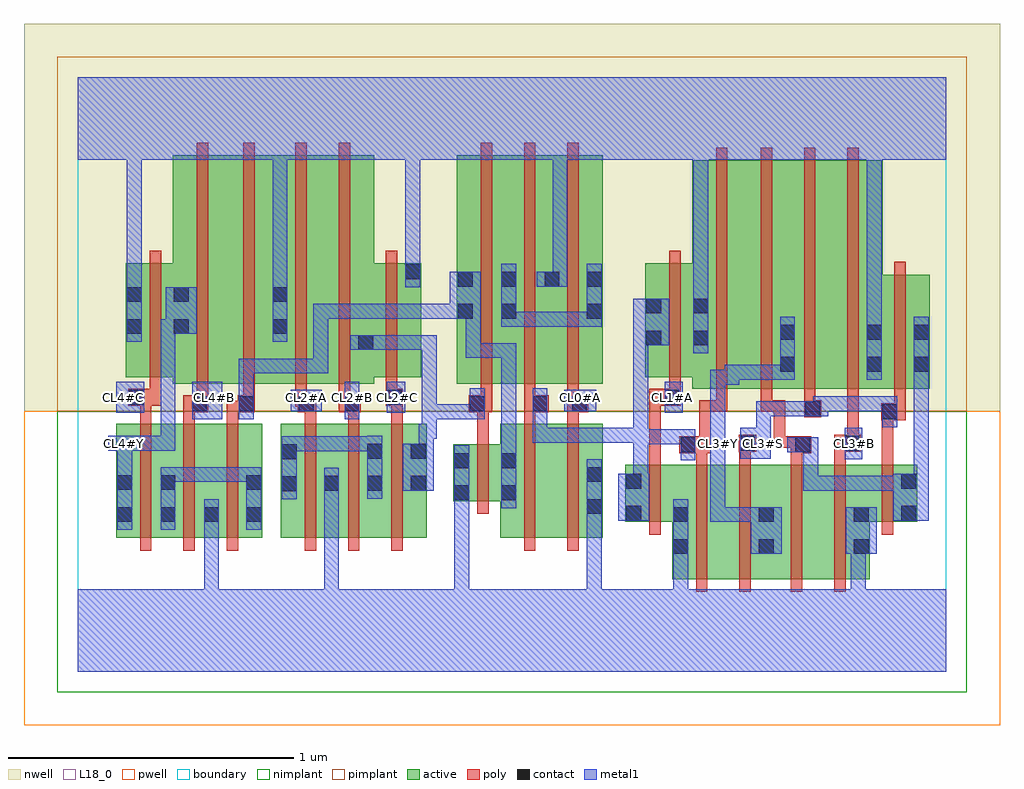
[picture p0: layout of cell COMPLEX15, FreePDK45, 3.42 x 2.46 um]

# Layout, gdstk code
import gdstk
lib = gdstk.Library(unit=1e-6, precision=1e-09)
def R(c, l, rs):  # rectangles x0, y0, x1, y1
    for r in rs: c.add(gdstk.rectangle(r[:2], r[2:], *l))
def A(c, l, x, y, w, h, nx, ny, dx, dy):  # array of equal rectangles
    R(c, l, [(x+i*dx, y+j*dy, x+i*dx+w, y+j*dy+h) for i in range(nx) for j in range(ny)])
active = (1, 0)
pwell = (2, 0)
nwell = (3, 0)
nimplant = (4, 0)
pimplant = (5, 0)
poly = (9, 0)
contact = (10, 0)
metal1 = (11, 0)
L18_0 = (18, 0)
boundary = (235, 0)

complex15 = lib.new_cell('COMPLEX15')
R(complex15, active, [(2.08,0.324,2.14,0.724), (2.08,0.324,2.26,0.724), (2.26,0.324,2.44,0.724), (2.38,0.324,2.592,0.724), (2.592,0.324,2.772,0.724), (2.712,0.324,2.772,0.724), (2.38,0.356,2.44,0.724), (0.134,0.468,0.194,0.868), (0.134,0.468,0.346,0.868), (0.286,0.468,0.498,0.868), (0.286,0.468,0.346,0.692), (0.438,0.468,0.646,0.868), (0.438,0.468,0.498,0.58), (0.586,0.468,0.646,0.868), (0.71,0.468,0.77,0.868), (0.71,0.468,0.918,0.868), (0.858,0.468,0.918,0.868), (0.858,0.468,1.07,0.868), (1.01,0.468,1.222,0.868), (1.01,0.468,1.07,0.802), (1.162,0.468,1.222,0.868), (1.478,0.468,1.658,0.868), (1.658,0.468,1.838,0.868), (1.778,0.468,1.838,0.868), (1.916,0.524,1.976,0.724), (1.916,0.524,2.14,0.724), (2.712,0.524,2.938,0.724), (2.878,0.524,2.938,0.724), (1.314,0.596,1.374,0.796), (1.314,0.596,1.538,0.796), (1.478,0.596,1.538,0.768), (2.15,0.99,2.334,1.79), (2.334,0.99,2.514,1.79), (2.454,0.99,2.638,1.79), (2.454,0.99,2.514,1.724), (2.638,0.99,2.818,1.79), (2.758,0.99,2.982,1.39), (2.922,0.99,2.982,1.356), (0.332,1.008,0.524,1.808), (0.524,1.008,0.738,1.808), (0.678,1.008,0.858,1.808), (0.858,1.008,1.038,1.808), (1.326,1.008,1.386,1.724), (1.326,1.008,1.538,1.808), (1.478,1.008,1.69,1.808), (1.63,1.008,1.838,1.808), (1.778,1.008,1.838,1.724), (0.678,1.018,0.738,1.756), (1.478,1.028,1.538,1.724), (0.168,1.03,0.392,1.43), (0.168,1.03,0.228,1.356), (0.332,1.03,0.392,1.724), (0.978,1.03,1.202,1.43), (1.142,1.03,1.202,1.43), (1.986,1.03,2.21,1.43), (1.986,1.03,2.046,1.356), (2.758,1.046,2.818,1.356), (0.978,1.122,1.038,1.62), (2.15,1.138,2.21,1.356), (1.63,1.206,1.69,1.756)])
R(complex15, pwell, [(-0.188,-0.188,3.228,0.912)])
R(complex15, nwell, [(-0.188,0.912,3.228,2.268)])
R(complex15, nimplant, [(-0.072,-0.072,3.112,0.912)])
R(complex15, pimplant, [(-0.072,0.912,3.112,2.152)])
A(complex15, poly, 0.218, 0.424, 0.04, 0.488, 3, 1, 0.152, 0)
A(complex15, poly, 0.794, 0.424, 0.04, 0.488, 3, 1, 0.152, 0)
A(complex15, poly, 1.41, 0.928, 0.04, 0.076, 3, 1, 0.152, 0)
A(complex15, poly, 2.39, 0.946, 0.04, 0.888, 3, 1, 0.152, 0)
A(complex15, poly, 1.41, 0.964, 0.04, 0.888, 3, 1, 0.152, 0)
R(complex15, poly, [(2.164,0.28,2.204,0.768), (2.316,0.28,2.356,0.768), (2.496,0.28,2.536,0.768), (2.648,0.28,2.688,0.768), (1.562,0.424,1.602,0.912), (1.714,0.424,1.754,0.912), (2,0.48,2.04,0.768), (2.814,0.48,2.854,0.768), (1.398,0.552,1.438,0.84), (2,0.728,2.04,0.97), (2.164,0.728,2.204,0.804), (2.316,0.728,2.356,0.81), (2.496,0.728,2.536,0.804), (2.648,0.728,2.688,0.81), (2.814,0.728,2.854,0.92), (2.106,0.764,2.216,0.824), (2.496,0.764,2.568,0.824), (2.314,0.77,2.374,0.83), (2.648,0.77,2.74,0.83), (2.176,0.784,2.216,0.95), (2.436,0.784,2.476,0.824), (2.436,0.784,2.536,0.824), (2.436,0.784,2.476,0.95), (2.694,0.79,2.734,0.83), (2.694,0.79,2.734,0.83), (2.694,0.79,2.734,0.986), (1.398,0.8,1.438,0.948), (0.218,0.872,0.258,0.97), (0.37,0.872,0.41,0.948), (0.522,0.872,0.562,0.948), (0.794,0.872,0.834,0.948), (0.946,0.872,0.986,0.948), (1.098,0.872,1.138,0.97), (1.562,0.872,1.602,0.948), (1.714,0.872,1.754,0.948), (2.812,0.88,2.898,0.94), (2.814,0.88,2.854,0.92), (2.814,0.88,2.854,0.92), (2.542,0.89,2.602,0.95), (2.858,0.9,2.898,0.986), (0.37,0.908,0.456,0.968), (0.522,0.908,0.6,0.948), (0.56,0.908,0.6,0.948), (0.56,0.908,0.62,0.968), (0.77,0.908,0.834,0.968), (0.914,0.908,0.99,0.968), (0.946,0.908,0.986,0.948), (0.946,0.908,0.986,0.948), (1.368,0.908,1.45,0.968), (1.398,0.908,1.438,0.948), (1.398,0.908,1.438,0.948), (1.562,0.908,1.648,0.968), (1.714,0.908,1.754,0.948), (1.714,0.908,1.754,0.948), (1.714,0.908,1.786,0.968), (2.176,0.91,2.274,0.95), (2.234,0.91,2.274,0.986), (2.39,0.91,2.43,0.95), (2.39,0.91,2.43,0.986), (2.39,0.91,2.476,0.95), (2.436,0.91,2.476,0.95), (2.542,0.91,2.582,0.986), (0.416,0.928,0.456,0.968), (0.416,0.928,0.456,0.968), (0.416,0.928,0.456,1.004), (0.58,0.928,0.62,1.004), (0.762,0.928,0.802,1.004), (0.762,0.928,0.81,0.968), (0.77,0.928,0.81,0.968), (0.914,0.928,0.954,1.004), (1.562,0.928,1.602,0.968), (1.562,0.928,1.602,0.968), (0.176,0.93,0.292,0.99), (0.218,0.93,0.258,0.97), (0.218,0.93,0.258,0.97), (1.078,0.93,1.138,0.99), (1.098,0.93,1.138,0.97), (1.098,0.93,1.138,0.97), (2,0.93,2.04,0.97), (2,0.93,2.04,0.97), (2,0.93,2.11,0.99), (2.234,0.946,2.274,1.834), (2.858,0.946,2.898,1.434), (0.252,0.95,0.292,1.026), (1.078,0.95,1.118,1.026), (2.07,0.95,2.11,1.026), (0.416,0.964,0.456,1.852), (0.58,0.964,0.62,1.852), (0.762,0.964,0.802,1.852), (0.914,0.964,0.954,1.852), (0.252,0.986,0.292,1.474), (1.078,0.986,1.118,1.474), (2.07,0.986,2.11,1.474)])
A(complex15, contact, 0.138, 0.524, 0.052, 0.052, 3, 1, 0.152, 0)
A(complex15, contact, 0.862, 0.634, 0.052, 0.052, 3, 1, 0.152, 0)
A(complex15, contact, 1.33, 1.348, 0.052, 0.052, 3, 1, 0.152, 0)
R(complex15, contact, [(2.084,0.412,2.136,0.464), (2.384,0.412,2.436,0.464), (2.716,0.412,2.768,0.464), (0.59,0.524,0.642,0.576), (2.084,0.524,2.136,0.576), (2.384,0.524,2.436,0.576), (2.716,0.524,2.768,0.576), (1.92,0.528,1.972,0.58), (2.882,0.528,2.934,0.58), (1.782,0.552,1.834,0.604), (1.318,0.6,1.37,0.652), (1.482,0.6,1.534,0.652), (0.714,0.632,0.766,0.684), (0.138,0.636,0.19,0.688), (0.29,0.636,0.342,0.688), (0.59,0.636,0.642,0.688), (1.92,0.64,1.972,0.692), (2.882,0.64,2.934,0.692), (1.782,0.664,1.834,0.716), (1.318,0.712,1.37,0.764), (1.482,0.712,1.534,0.764), (0.714,0.744,0.766,0.796), (1.014,0.746,1.066,0.798), (1.166,0.746,1.218,0.798), (2.11,0.768,2.162,0.82), (2.512,0.768,2.564,0.82), (2.318,0.774,2.37,0.826), (2.684,0.774,2.736,0.826), (2.816,0.884,2.868,0.936), (2.546,0.894,2.598,0.946), (0.4,0.912,0.452,0.964), (0.564,0.912,0.616,0.964), (0.774,0.912,0.826,0.964), (0.934,0.912,0.986,0.964), (1.372,0.912,1.424,0.964), (1.592,0.912,1.644,0.964), (1.73,0.912,1.782,0.964), (0.18,0.934,0.232,0.986), (1.082,0.934,1.134,0.986), (2.054,0.934,2.106,0.986), (2.458,1.05,2.51,1.102), (2.762,1.05,2.814,1.102), (2.926,1.05,2.978,1.102), (0.982,1.126,1.034,1.178), (1.99,1.142,2.042,1.194), (2.154,1.142,2.206,1.194), (2.458,1.162,2.51,1.214), (2.762,1.162,2.814,1.214), (2.926,1.162,2.978,1.214), (0.172,1.182,0.224,1.234), (0.336,1.182,0.388,1.234), (0.682,1.182,0.734,1.234), (1.33,1.236,1.382,1.288), (1.482,1.236,1.534,1.288), (1.782,1.236,1.834,1.288), (1.99,1.254,2.042,1.306), (2.154,1.254,2.206,1.306), (0.172,1.294,0.224,1.346), (0.336,1.294,0.388,1.346), (0.682,1.294,0.734,1.346), (1.782,1.348,1.834,1.4), (1.146,1.374,1.198,1.426)])
R(complex15, metal1, [(0,0,3.04,0.288), (0.442,0.236,0.494,0.288), (0.442,0.236,0.494,0.288), (0.442,0.236,0.494,0.548), (0.862,0.236,0.914,0.288), (0.862,0.236,0.914,0.288), (0.862,0.236,0.914,0.658), (1.318,0.236,1.37,0.624), (1.782,0.236,1.834,0.576), (2.084,0.236,2.136,0.436), (2.706,0.236,2.758,0.464), (2.084,0.384,2.136,0.436), (2.084,0.384,2.136,0.436), (2.084,0.384,2.136,0.604), (2.356,0.412,2.464,0.576), (2.688,0.412,2.796,0.576), (2.706,0.412,2.758,0.464), (2.706,0.412,2.758,0.464), (0.138,0.496,0.19,0.716), (0.29,0.496,0.342,0.716), (0.442,0.496,0.494,0.604), (0.59,0.496,0.642,0.716), (1.782,0.524,1.834,0.576), (1.782,0.524,1.834,0.576), (1.782,0.524,1.834,0.744), (2.214,0.524,2.266,0.576), (2.214,0.524,2.408,0.576), (2.214,0.524,2.266,0.798), (2.356,0.524,2.408,0.576), (2.356,0.524,2.408,0.576), (1.892,0.528,2,0.692), (2.854,0.528,2.978,0.692), (1.318,0.572,1.37,0.624), (1.318,0.572,1.37,0.624), (1.318,0.572,1.37,0.624), (1.318,0.572,1.37,0.624), (1.318,0.572,1.37,0.624), (1.318,0.572,1.37,0.624), (1.318,0.572,1.37,0.792), (1.482,0.572,1.534,0.792), (0.714,0.604,0.766,0.824), (0.862,0.606,0.914,0.714), (1.014,0.606,1.066,0.826), (1.138,0.634,1.246,0.798), (2.54,0.634,2.592,0.686), (2.54,0.634,2.758,0.686), (2.54,0.634,2.592,0.82), (2.706,0.634,2.758,0.686), (2.706,0.634,2.758,0.686), (2.706,0.634,2.758,0.686), (2.706,0.634,2.906,0.686), (2.854,0.634,2.906,0.686), (2.854,0.634,2.906,0.686), (1.944,0.64,1.996,0.848), (2.926,0.64,2.978,1.074), (0.138,0.664,0.19,0.826), (0.29,0.664,0.452,0.716), (0.4,0.664,0.452,0.716), (0.4,0.664,0.452,0.716), (0.4,0.664,0.452,0.716), (0.4,0.664,0.624,0.716), (0.572,0.664,0.624,0.716), (0.572,0.664,0.642,0.716), (1.482,0.74,1.534,1.15), (2.11,0.74,2.162,0.848), (2.684,0.744,2.746,0.854), (1.194,0.746,1.246,0.868), (2.214,0.746,2.266,0.94), (2.318,0.746,2.426,0.854), (2.484,0.768,2.592,0.82), (2.54,0.768,2.592,0.82), (2.54,0.768,2.592,0.82), (0.714,0.772,0.766,0.824), (0.714,0.772,0.766,0.824), (0.714,0.772,0.876,0.824), (0.824,0.772,0.876,0.824), (0.824,0.772,0.876,0.824), (0.824,0.772,0.876,0.824), (0.824,0.772,1.066,0.824), (0.106,0.774,0.214,0.826), (0.162,0.774,0.214,0.826), (0.162,0.774,0.214,0.826), (0.162,0.774,0.342,0.826), (0.29,0.774,0.342,0.826), (0.29,0.774,0.342,1.234), (1.944,0.796,1.996,0.848), (1.944,0.796,1.996,0.848), (1.944,0.796,2.156,0.848), (1.944,0.796,1.996,0.854), (2.104,0.796,2.156,0.848), (2.104,0.796,2.162,0.848), (1.592,0.802,1.834,0.854), (1.592,0.802,1.644,0.936), (1.782,0.802,1.834,0.854), (1.782,0.802,1.834,0.854), (1.782,0.802,1.834,0.854), (1.782,0.802,1.996,0.854), (1.944,0.802,1.996,0.854), (1.944,0.802,1.996,0.854), (1.944,0.802,1.996,1.194), (2.374,0.802,2.426,0.854), (2.374,0.802,2.426,0.854), (2.374,0.802,2.426,0.946), (1.194,0.816,1.256,0.868), (1.204,0.816,1.256,0.936), (2.816,0.856,2.868,0.964), (0.4,0.884,0.506,1.014), (0.564,0.884,0.616,0.992), (0.934,0.884,0.986,1.014), (1.204,0.884,1.256,0.936), (1.204,0.884,1.424,0.936), (1.204,0.884,1.256,1.178), (1.372,0.884,1.424,0.936), (1.372,0.884,1.424,0.936), (1.372,0.884,1.424,0.992), (1.592,0.884,1.644,0.936), (1.592,0.884,1.644,0.992), (2.214,0.888,2.266,0.94), (2.214,0.888,2.266,0.94), (2.214,0.888,2.266,1.056), (2.374,0.894,2.426,0.946), (2.374,0.894,2.57,0.946), (2.518,0.894,2.626,0.946), (2.574,0.894,2.626,0.946), (2.574,0.894,2.626,0.964), (0.134,0.906,0.232,1.014), (1.082,0.906,1.146,1.014), (2.054,0.906,2.118,1.014), (0.746,0.912,0.854,0.986), (1.702,0.912,1.814,0.986), (2.574,0.912,2.758,0.964), (2.706,0.912,2.758,0.964), (2.706,0.912,2.758,0.964), (2.706,0.912,2.758,0.964), (2.706,0.912,2.868,0.964), (0.564,0.94,0.616,0.992), (0.564,0.94,0.616,1.096), (2.214,1.004,2.266,1.056), (2.214,1.004,2.316,1.056), (2.264,1.004,2.316,1.074), (2.264,1.022,2.51,1.074), (2.458,1.022,2.51,1.242), (2.762,1.022,2.814,1.242), (2.926,1.022,2.978,1.074), (2.926,1.022,2.978,1.074), (2.926,1.022,2.978,1.074), (2.926,1.022,2.978,1.074), (2.926,1.022,2.978,1.242), (0.564,1.044,0.766,1.096), (0.714,1.044,0.766,1.096), (0.714,1.044,0.766,1.096), (0.714,1.044,0.766,1.096), (0.714,1.044,0.876,1.096), (0.824,1.044,0.876,1.096), (0.824,1.044,0.876,1.096), (0.824,1.044,0.876,1.096), (0.824,1.044,0.876,1.288), (1.358,1.098,1.41,1.15), (1.358,1.098,1.534,1.15), (1.358,1.098,1.41,1.288), (1.482,1.098,1.534,1.15), (1.482,1.098,1.534,1.15), (1.482,1.098,1.534,1.15), (1.482,1.098,1.534,1.15), (1.482,1.098,1.534,1.15), (1.482,1.098,1.534,1.15), (1.482,1.098,1.534,1.15), (2.154,1.114,2.206,1.334), (0.954,1.126,1.062,1.178), (1.01,1.126,1.062,1.178), (1.01,1.126,1.062,1.178), (1.01,1.126,1.256,1.178), (1.204,1.126,1.256,1.178), (1.944,1.142,2.07,1.306), (0.172,1.154,0.224,1.374), (0.682,1.154,0.734,1.374), (0.29,1.182,0.36,1.234), (0.308,1.182,0.36,1.234), (0.308,1.182,0.416,1.346), (2.762,1.19,2.814,1.844), (1.482,1.208,1.534,1.428), (1.482,1.208,1.644,1.26), (1.592,1.208,1.644,1.26), (1.592,1.208,1.644,1.26), (1.592,1.208,1.644,1.26), (1.592,1.208,1.644,1.26), (1.592,1.208,1.644,1.26), (1.592,1.208,1.834,1.26), (1.782,1.208,1.834,1.26), (1.782,1.208,1.834,1.26), (1.782,1.208,1.834,1.428), (0.824,1.236,0.876,1.288), (0.824,1.236,0.876,1.288), (0.824,1.236,0.876,1.288), (0.824,1.236,0.986,1.288), (0.934,1.236,0.986,1.288), (0.934,1.236,1.172,1.288), (1.12,1.236,1.172,1.288), (1.12,1.236,1.172,1.288), (1.12,1.236,1.172,1.288), (1.12,1.236,1.354,1.288), (1.302,1.236,1.41,1.4), (2.154,1.282,2.206,1.844), (0.172,1.322,0.224,1.374), (0.172,1.322,0.224,1.374), (0.172,1.322,0.224,1.374), (0.172,1.322,0.224,1.374), (0.172,1.322,0.224,1.374), (0.172,1.322,0.224,1.374), (0.172,1.322,0.224,1.374), (0.172,1.322,0.224,1.374), (0.172,1.322,0.224,1.844), (0.682,1.322,0.734,1.844), (1.146,1.346,1.198,1.454), (1.606,1.348,1.714,1.4), (1.662,1.348,1.714,1.844), (1.146,1.402,1.198,1.454), (1.146,1.402,1.198,1.454), (1.146,1.402,1.198,1.454), (1.146,1.402,1.198,1.454), (1.146,1.402,1.198,1.454), (1.146,1.402,1.198,1.454), (1.146,1.402,1.198,1.454), (1.146,1.402,1.198,1.454), (1.146,1.402,1.198,1.844), (0,1.792,3.04,2.08)])
A(complex15, L18_0, 0.134, 0.934, 0.052, 0.052, 3, 1, 0.32, 0)
R(complex15, L18_0, [(0,0,3.04,0.288), (0.442,0.236,0.494,0.288), (0.442,0.236,0.494,0.288), (0.442,0.236,0.494,0.548), (0.862,0.236,0.914,0.288), (0.862,0.236,0.914,0.288), (0.862,0.236,0.914,0.658), (1.318,0.236,1.37,0.624), (1.782,0.236,1.834,0.576), (2.084,0.236,2.136,0.436), (2.706,0.236,2.758,0.464), (2.084,0.384,2.136,0.604), (2.084,0.384,2.136,0.436), (2.084,0.384,2.136,0.436), (2.356,0.412,2.464,0.576), (2.688,0.412,2.796,0.576), (2.706,0.412,2.758,0.464), (2.706,0.412,2.758,0.464), (0.138,0.496,0.19,0.716), (0.442,0.496,0.494,0.604), (1.782,0.524,1.834,0.744), (1.782,0.524,1.834,0.576), (1.782,0.524,1.834,0.576), (2.214,0.524,2.266,0.576), (2.214,0.524,2.266,0.798), (2.214,0.524,2.408,0.576), (2.356,0.524,2.408,0.576), (2.356,0.524,2.408,0.576), (1.318,0.572,1.37,0.792), (1.318,0.572,1.37,0.624), (1.318,0.572,1.37,0.624), (1.318,0.572,1.37,0.624), (1.318,0.572,1.37,0.624), (1.318,0.572,1.37,0.624), (1.318,0.572,1.37,0.624), (0.862,0.606,0.914,0.714), (0.138,0.664,0.19,0.826), (2.684,0.744,2.746,0.854), (2.214,0.746,2.266,0.94), (2.318,0.746,2.426,0.854), (0.106,0.774,0.214,0.826), (0.134,0.774,0.186,0.826), (0.162,0.774,0.214,0.826), (0.162,0.774,0.214,0.826), (0.162,0.774,0.342,0.826), (0.29,0.774,0.342,0.826), (0.29,0.774,0.342,1.234), (2.214,0.774,2.266,0.826), (2.374,0.774,2.426,0.826), (2.694,0.774,2.746,0.826), (2.374,0.802,2.426,0.854), (2.374,0.802,2.426,0.854), (2.374,0.802,2.426,0.946), (2.816,0.856,2.868,0.964), (0.4,0.884,0.506,1.014), (0.934,0.884,0.986,1.014), (2.214,0.888,2.266,0.94), (2.214,0.888,2.266,0.94), (2.214,0.888,2.266,1.056), (2.374,0.894,2.426,0.946), (2.374,0.894,2.57,0.946), (2.518,0.894,2.626,0.946), (2.574,0.894,2.626,0.946), (2.574,0.894,2.626,0.964), (0.134,0.906,0.232,1.014), (1.082,0.906,1.146,1.014), (2.054,0.906,2.118,1.014), (0.746,0.912,0.854,0.986), (1.702,0.912,1.814,0.986), (2.574,0.912,2.758,0.964), (2.706,0.912,2.758,0.964), (2.706,0.912,2.758,0.964), (2.706,0.912,2.758,0.964), (2.706,0.912,2.868,0.964), (0.934,0.934,0.986,0.986), (1.094,0.934,1.146,0.986), (1.734,0.934,1.786,0.986), (2.054,0.934,2.106,0.986), (2.214,1.004,2.266,1.056), (2.214,1.004,2.316,1.056), (2.264,1.004,2.316,1.074), (2.264,1.022,2.51,1.074), (2.458,1.022,2.51,1.242), (2.762,1.022,2.814,1.242), (2.154,1.114,2.206,1.334), (0.172,1.154,0.224,1.374), (0.682,1.154,0.734,1.374), (0.29,1.182,0.36,1.234), (0.308,1.182,0.36,1.234), (0.308,1.182,0.416,1.346), (2.762,1.19,2.814,1.844), (2.154,1.282,2.206,1.844), (0.172,1.322,0.224,1.374), (0.172,1.322,0.224,1.374), (0.172,1.322,0.224,1.374), (0.172,1.322,0.224,1.374), (0.172,1.322,0.224,1.374), (0.172,1.322,0.224,1.374), (0.172,1.322,0.224,1.374), (0.172,1.322,0.224,1.374), (0.172,1.322,0.224,1.844), (0.682,1.322,0.734,1.844), (1.146,1.346,1.198,1.454), (1.606,1.348,1.714,1.4), (1.662,1.348,1.714,1.844), (1.146,1.402,1.198,1.454), (1.146,1.402,1.198,1.454), (1.146,1.402,1.198,1.454), (1.146,1.402,1.198,1.454), (1.146,1.402,1.198,1.454), (1.146,1.402,1.198,1.454), (1.146,1.402,1.198,1.454), (1.146,1.402,1.198,1.454), (1.146,1.402,1.198,1.844), (0,1.792,3.04,2.08)])
R(complex15, boundary, [(0,0,3.04,2.08)])
complex15.add(gdstk.Label('CL0#A', (1.76,0.96), layer=11, texttype=0))
complex15.add(gdstk.Label('CL1#A', (2.08,0.96), layer=11, texttype=0))
complex15.add(gdstk.Label('CL2#A', (0.8,0.96), layer=11, texttype=0))
complex15.add(gdstk.Label('CL2#B', (0.96,0.96), layer=11, texttype=0))
complex15.add(gdstk.Label('CL2#C', (1.12,0.96), layer=11, texttype=0))
complex15.add(gdstk.Label('CL3#B', (2.72,0.8), layer=11, texttype=0))
complex15.add(gdstk.Label('CL3#S', (2.4,0.8), layer=11, texttype=0))
complex15.add(gdstk.Label('CL3#Y', (2.24,0.8), layer=11, texttype=0))
complex15.add(gdstk.Label('CL4#B', (0.48,0.96), layer=11, texttype=0))
complex15.add(gdstk.Label('CL4#C', (0.16,0.96), layer=11, texttype=0))
complex15.add(gdstk.Label('CL4#Y', (0.16,0.8), layer=11, texttype=0))

lib.write_gds('COMPLEX15.gds')
